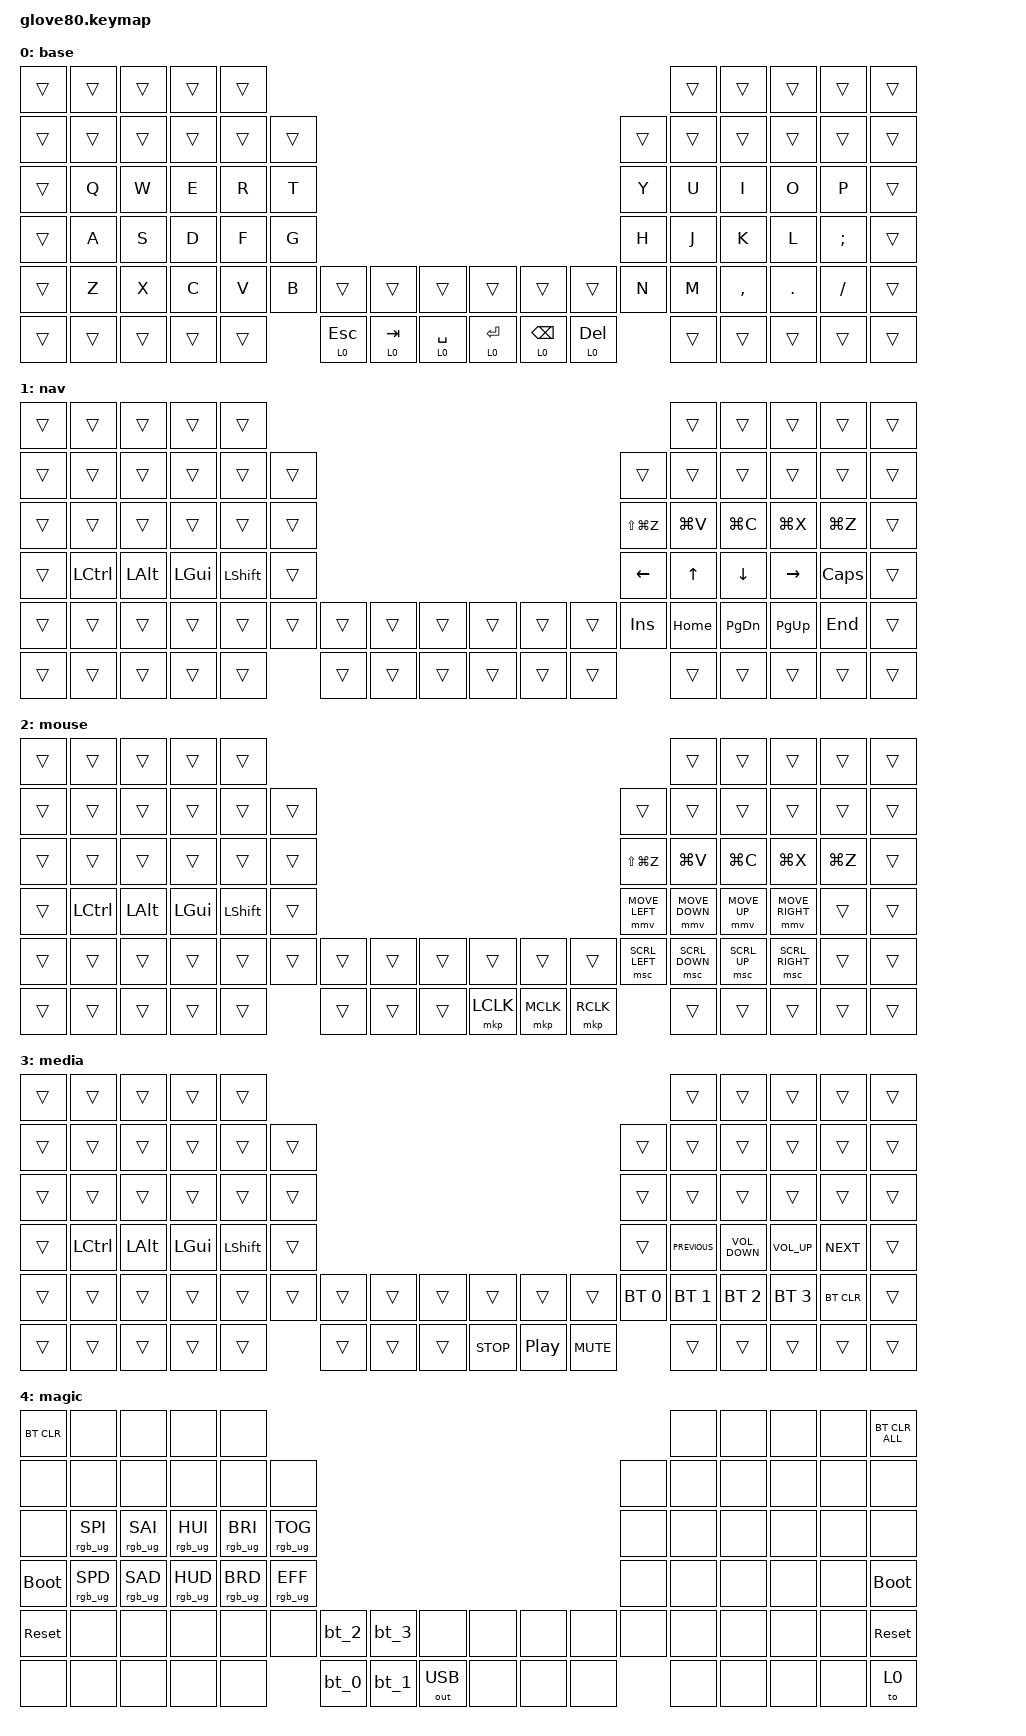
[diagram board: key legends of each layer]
/*
 * Copyright (c) 2020 The ZMK Contributors
 *
 * SPDX-License-Identifier: MIT
 */

#include <behaviors.dtsi>
#include <dt-bindings/zmk/bt.h>
#include <dt-bindings/zmk/keys.h>
#include <dt-bindings/zmk/outputs.h>
#include <dt-bindings/zmk/pointing.h>
#include <dt-bindings/zmk/rgb.h>

#define HYPER LC(LS(LG(LALT)))

// layers

#define DEFAULT 0
#define LOWER 1
#define MAGIC 2
#define FACTORY_TEST 3

/ {
    behaviors {
        // For the "layer" key, it'd nice to be able to use it as either a shift or a toggle.
        // Configure it as a tap dance, so the first tap (or hold) is a &mo and the second tap is a &to

        layer_td: tap_dance_0 {
            compatible = "zmk,behavior-tap-dance";
            label = "LAYER_TAP_DANCE";
            #binding-cells = <0>;
            tapping-term-ms = <200>;
            bindings = <&mo 0>, <&to 0>;
        };

        magic: magic_hold_tap {
            compatible = "zmk,behavior-hold-tap";
            label = "MAGIC_HOLD_TAP";
            #binding-cells = <2>;
            flavor = "tap-preferred";
            tapping-term-ms = <200>;
            bindings = <&mo>, <&rgb_ug_status_macro>;
        };
    };

    macros {
        rgb_ug_status_macro: rgb_ug_status_macro_0 {
            label = "RGB_UG_STATUS";
            compatible = "zmk,behavior-macro";
            #binding-cells = <0>;
            bindings = <&rgb_ug RGB_STATUS>;
        };

        bt_0: bt_profile_macro_0 {
            label = "BT_0";
            compatible = "zmk,behavior-macro";
            #binding-cells = <0>;
            bindings = <&out OUT_BLE &bt BT_SEL 0>;
        };

        bt_1: bt_profile_macro_1 {
            label = "BT_1";
            compatible = "zmk,behavior-macro";
            #binding-cells = <0>;
            bindings = <&out OUT_BLE &bt BT_SEL 1>;
        };

        bt_2: bt_profile_macro_2 {
            label = "BT_2";
            compatible = "zmk,behavior-macro";
            #binding-cells = <0>;
            bindings = <&out OUT_BLE &bt BT_SEL 2>;
        };

        bt_3: bt_profile_macro_3 {
            label = "BT_3";
            compatible = "zmk,behavior-macro";
            #binding-cells = <0>;
            bindings = <&out OUT_BLE &bt BT_SEL 3>;
        };
    };

    keymap {
        compatible = "zmk,keymap";

        base {
            bindings = <
&trans  &trans  &trans  &trans  &trans                                                                                                    &trans  &trans     &trans   &trans    &trans
&trans  &trans  &trans  &trans  &trans  &trans                                                                                    &trans  &trans  &trans     &trans   &trans    &trans
&trans  &kp Q   &kp W   &kp E   &kp R   &kp T                                                                                     &kp Y   &kp U   &kp I      &kp O    &kp P     &trans
&trans  &kp A   &kp S   &kp D   &kp F   &kp G                                                                                     &kp H   &kp J   &kp K      &kp L    &kp SEMI  &trans
&trans  &kp Z   &kp X   &kp C   &kp V   &kp B   &trans        &trans     &trans       &trans       &trans           &trans        &kp N   &kp M   &kp COMMA  &kp DOT  &kp FSLH  &trans
&trans  &trans  &trans  &trans  &trans          &lt 0 ESCAPE  &lt 0 TAB  &lt 0 SPACE  &lt 0 ENTER  &lt 0 BACKSPACE  &lt 0 DELETE          &trans  &trans     &trans   &trans    &trans
            >;
        };

        nav {
            bindings = <
&trans  &trans     &trans    &trans    &trans                                                                             &trans        &trans          &trans           &trans        &trans
&trans  &trans     &trans    &trans    &trans     &trans                                                  &trans          &trans        &trans          &trans           &trans        &trans
&trans  &trans     &trans    &trans    &trans     &trans                                                  &kp LS(LG(Z))   &kp LG(V)     &kp LG(C)       &kp LG(X)        &kp LG(Z)     &trans
&trans  &kp LCTRL  &kp LALT  &kp LGUI  &kp LSHFT  &trans                                                  &kp LEFT_ARROW  &kp UP_ARROW  &kp DOWN_ARROW  &kp RIGHT_ARROW  &kp CAPSLOCK  &trans
&trans  &trans     &trans    &trans    &trans     &trans  &trans  &trans  &trans  &trans  &trans  &trans  &kp INSERT      &kp HOME      &kp PAGE_DOWN   &kp PAGE_UP      &kp END       &trans
&trans  &trans     &trans    &trans    &trans             &trans  &trans  &trans  &trans  &trans  &trans                  &trans        &trans          &trans           &trans        &trans
            >;
        };

        mouse {
            bindings = <
&trans  &trans     &trans    &trans    &trans                                                                                      &trans          &trans        &trans           &trans     &trans
&trans  &trans     &trans    &trans    &trans     &trans                                                           &trans          &trans          &trans        &trans           &trans     &trans
&trans  &trans     &trans    &trans    &trans     &trans                                                           &kp LS(LG(Z))   &kp LG(V)       &kp LG(C)     &kp LG(X)        &kp LG(Z)  &trans
&trans  &kp LCTRL  &kp LALT  &kp LGUI  &kp LSHFT  &trans                                                           &mmv MOVE_LEFT  &mmv MOVE_DOWN  &mmv MOVE_UP  &mmv MOVE_RIGHT  &trans     &trans
&trans  &trans     &trans    &trans    &trans     &trans  &trans  &trans  &trans  &trans     &trans     &trans     &msc SCRL_LEFT  &msc SCRL_DOWN  &msc SCRL_UP  &msc SCRL_RIGHT  &trans     &trans
&trans  &trans     &trans    &trans    &trans             &trans  &trans  &trans  &mkp LCLK  &mkp MCLK  &mkp RCLK                  &trans          &trans        &trans           &trans     &trans
            >;
        };

        media {
            bindings = <
&trans  &trans     &trans    &trans    &trans                                                                                             &trans          &trans             &trans           &trans      &trans
&trans  &trans     &trans    &trans    &trans     &trans                                                                    &trans        &trans          &trans             &trans           &trans      &trans
&trans  &trans     &trans    &trans    &trans     &trans                                                                    &trans        &trans          &trans             &trans           &trans      &trans
&trans  &kp LCTRL  &kp LALT  &kp LGUI  &kp LSHFT  &trans                                                                    &trans        &kp C_PREVIOUS  &kp C_VOLUME_DOWN  &kp C_VOLUME_UP  &kp C_NEXT  &trans
&trans  &trans     &trans    &trans    &trans     &trans  &trans  &trans  &trans  &trans      &trans            &trans      &bt BT_SEL 0  &bt BT_SEL 1    &bt BT_SEL 2       &bt BT_SEL 3     &bt BT_CLR  &trans
&trans  &trans     &trans    &trans    &trans             &trans  &trans  &trans  &kp C_STOP  &kp C_PLAY_PAUSE  &kp C_MUTE                &trans          &trans             &trans           &trans      &trans
            >;
        };

        magic {
            bindings = <
&bt BT_CLR   &none            &none            &none            &none                                                                                     &none  &none  &none  &none  &bt BT_CLR_ALL
&none        &none            &none            &none            &none            &none                                                             &none  &none  &none  &none  &none  &none
&none        &rgb_ug RGB_SPI  &rgb_ug RGB_SAI  &rgb_ug RGB_HUI  &rgb_ug RGB_BRI  &rgb_ug RGB_TOG                                                   &none  &none  &none  &none  &none  &none
&bootloader  &rgb_ug RGB_SPD  &rgb_ug RGB_SAD  &rgb_ug RGB_HUD  &rgb_ug RGB_BRD  &rgb_ug RGB_EFF                                                   &none  &none  &none  &none  &none  &bootloader
&sys_reset   &none            &none            &none            &none            &none            &bt_2  &bt_3  &none         &none  &none  &none  &none  &none  &none  &none  &none  &sys_reset
&none        &none            &none            &none            &none                             &bt_0  &bt_1  &out OUT_USB  &none  &none  &none         &none  &none  &none  &none  &to 0
            >;
        };
    };
};
